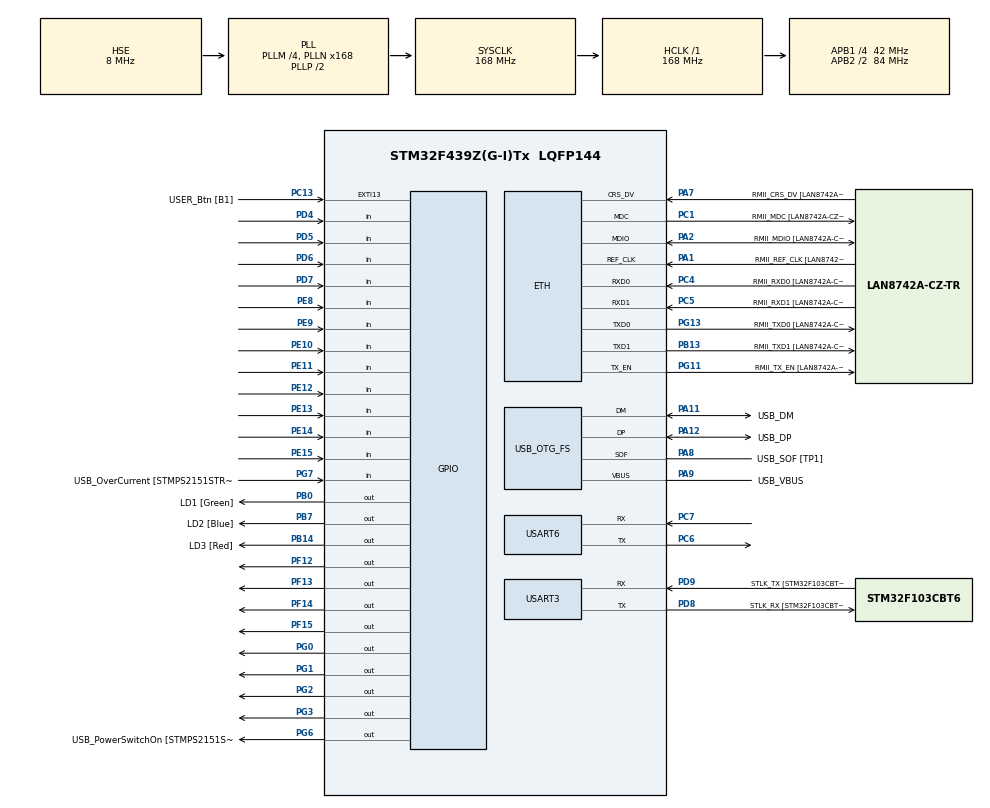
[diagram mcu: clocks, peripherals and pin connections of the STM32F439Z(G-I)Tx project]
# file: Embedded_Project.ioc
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ETH.MediaInterface=HAL_ETH_RMII_MODE
ETH.PHY_Name=LAN8742A_PHY_ADDRESS
ETH.PHY_Value=0
ETH.PhyAddress=0
Mcu.Family=STM32F4
Mcu.Name=STM32F439Z(G-I)Tx
Mcu.Package=LQFP144
NVIC.PriorityGroup=NVIC_PRIORITYGROUP_4
PA1.GPIO_Label=RMII_REF_CLK [LAN8742A-CZ-TR_REFCLK0]
PA1.Mode=RMII
PA1.Signal=ETH_REF_CLK
PA10.GPIO_Label=USB_ID
PA10.Signal=USB_OTG_FS_ID
PA11.GPIO_Label=USB_DM
PA11.Mode=Device_Only
PA11.Signal=USB_OTG_FS_DM
PA12.GPIO_Label=USB_DP
PA12.Mode=Device_Only
PA12.Signal=USB_OTG_FS_DP
PA13.GPIO_Label=TMS
PA13.Mode=Serial_Wire
PA13.Signal=SYS_JTMS-SWDIO
PA14.GPIO_Label=TCK
PA14.Mode=Serial_Wire
PA14.Signal=SYS_JTCK-SWCLK
PA2.GPIO_Label=RMII_MDIO [LAN8742A-CZ-TR_MDIO]
PA2.Mode=RMII
PA2.Signal=ETH_MDIO
PA7.GPIO_Label=RMII_CRS_DV [LAN8742A-CZ-TR_CRS_DV]
PA7.Mode=RMII
PA7.Signal=ETH_CRS_DV
PA8.GPIO_Label=USB_SOF [TP1]
PA8.Mode=Activate_SOF_FS
PA8.Signal=USB_OTG_FS_SOF
PA9.GPIO_Label=USB_VBUS
PA9.Mode=Activate_VBUS
PA9.Signal=USB_OTG_FS_VBUS
PB0.GPIO_Label=LD1 [Green]
PB0.Signal=GPIO_Output
PB13.GPIO_Label=RMII_TXD1 [LAN8742A-CZ-TR_TXD1]
PB13.Mode=RMII
PB13.Signal=ETH_TXD1
PB14.GPIO_Label=LD3 [Red]
PB14.Signal=GPIO_Output
PB7.GPIO_Label=LD2 [Blue]
PB7.Signal=GPIO_Output
PC1.GPIO_Label=RMII_MDC [LAN8742A-CZ-TR_MDC]
PC1.Mode=RMII
PC1.Signal=ETH_MDC
PC13.GPIO_Label=USER_Btn [B1]
PC13.Signal=GPXTI13
PC14/OSC32_IN.Mode=LSE-External-Oscillator
PC14/OSC32_IN.Signal=RCC_OSC32_IN
PC15/OSC32_OUT.Mode=LSE-External-Oscillator
PC15/OSC32_OUT.Signal=RCC_OSC32_OUT
PC4.GPIO_Label=RMII_RXD0 [LAN8742A-CZ-TR_RXD0]
PC4.Mode=RMII
PC4.Signal=ETH_RXD0
PC5.GPIO_Label=RMII_RXD1 [LAN8742A-CZ-TR_RXD1]
PC5.Mode=RMII
PC5.Signal=ETH_RXD1
PC6.Mode=Asynchronous
PC6.Signal=USART6_TX
PC7.Mode=Asynchronous
PC7.Signal=USART6_RX
PD4.GPIO_PuPd=GPIO_PULLUP
PD4.Signal=GPIO_Input
PD5.GPIO_PuPd=GPIO_PULLUP
PD5.Signal=GPIO_Input
PD6.GPIO_PuPd=GPIO_PULLUP
PD6.Signal=GPIO_Input
PD7.GPIO_PuPd=GPIO_PULLUP
PD7.Signal=GPIO_Input
PD8.GPIO_Label=STLK_RX [STM32F103CBT6_PA3]
PD8.Mode=Asynchronous
PD8.Signal=USART3_TX
PD9.GPIO_Label=STLK_TX [STM32F103CBT6_PA2]
PD9.Mode=Asynchronous
PD9.Signal=USART3_RX
PE10.Signal=GPIO_Input
PE11.Signal=GPIO_Input
PE12.Signal=GPIO_Input
PE13.Signal=GPIO_Input
PE14.Signal=GPIO_Input
PE15.Signal=GPIO_Input
PE8.Signal=GPIO_Input
PE9.Signal=GPIO_Input
PF12.Signal=GPIO_Output
PF13.Signal=GPIO_Output
PF14.Signal=GPIO_Output
PF15.Signal=GPIO_Output
PG0.Signal=GPIO_Output
PG1.Signal=GPIO_Output
PG11.GPIO_Label=RMII_TX_EN [LAN8742A-CZ-TR_TXEN]
PG11.Mode=RMII
PG11.Signal=ETH_TX_EN
PG13.GPIO_Label=RMII_TXD0 [LAN8742A-CZ-TR_TXD0]
PG13.Mode=RMII
PG13.Signal=ETH_TXD0
PG2.Signal=GPIO_Output
PG3.Signal=GPIO_Output
PG6.GPIO_Label=USB_PowerSwitchOn [STMPS2151STR_EN]
PG6.Signal=GPIO_Output
PG7.GPIO_Label=USB_OverCurrent [STMPS2151STR_FAULT]
PG7.Signal=GPIO_Input
PH0/OSC_IN.GPIO_Label=MCO [STM32F103CBT6_PA8]
PH0/OSC_IN.Mode=HSE-External-Clock-Source
PH0/OSC_IN.Signal=RCC_OSC_IN
PH1/OSC_OUT.Mode=HSE-External-Clock-Source
PH1/OSC_OUT.Signal=RCC_OSC_OUT
ProjectManager.HeapSize=0x200
ProjectManager.StackSize=0x400
ProjectManager.TargetToolchain=STM32CubeIDE
RCC.48MHZClocksFreq_Value=48000000
RCC.AHBFreq_Value=168000000
RCC.APB1CLKDivider=RCC_HCLK_DIV4
RCC.APB1Freq_Value=42000000
RCC.APB1TimFreq_Value=84000000
RCC.APB2CLKDivider=RCC_HCLK_DIV2
RCC.APB2Freq_Value=84000000
RCC.APB2TimCLKDivider=2
RCC.APB2TimFreq_Value=168000000
RCC.CortexFreq_Value=168000000
RCC.HCLKFreq_Value=168000000
RCC.HSE_VALUE=8000000
RCC.HSI_VALUE=16000000
RCC.PLLM=4
RCC.PLLMUL=RCC_PLL_MUL9
RCC.PLLN=168
RCC.PLLQ=7
RCC.PRESCALERUSB=RCC_USBCLKSOURCE_PLL_DIV1_5
RCC.SYSCLKFreq_VALUE=168000000
RCC.SYSCLKSource=RCC_SYSCLKSOURCE_PLLCLK
RCC.SYSCLKSourceVirtual=RCC_SYSCLKSOURCE_PLLCLK
RCC.USBFreq_Value=48000000
RCC.VCOOutputFreq_Value=336000000
TIM2.Prescaler=83
USART3.VirtualMode=VM_ASYNC
USART6.VirtualMode=VM_ASYNC
USB_OTG_FS.VirtualMode=Device_Only
VP_TIM2_VS_ClockSourceINT.Mode=Internal
board=NUCLEO-F439ZI

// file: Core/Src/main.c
/* USER CODE BEGIN Header */
/**
  ******************************************************************************
  * @file           : main.c
  * @brief          : Main program body
  ******************************************************************************
  * @attention
  *
  * Copyright (c) 2026 STMicroelectronics.
  * All rights reserved.
  *
  * This software is licensed under terms that can be found in the LICENSE file
  * in the root directory of this software component.
  * If no LICENSE file comes with this software, it is provided AS-IS.
  *
  ******************************************************************************
  */
/* USER CODE END Header */
#include "main.h"
#include "string.h"

ETH_TxPacketConfig TxConfig;
ETH_DMADescTypeDef  DMARxDscrTab[ETH_RX_DESC_CNT]; /* Ethernet Rx DMA Descriptors */
ETH_DMADescTypeDef  DMATxDscrTab[ETH_TX_DESC_CNT]; /* Ethernet Tx DMA Descriptors */

ETH_HandleTypeDef heth;

TIM_HandleTypeDef htim2;

UART_HandleTypeDef huart3;
UART_HandleTypeDef huart6;

PCD_HandleTypeDef hpcd_USB_OTG_FS;

void SystemClock_Config(void);
static void MX_GPIO_Init(void);
static void MX_ETH_Init(void);
static void MX_USART3_UART_Init(void);
static void MX_USB_OTG_FS_PCD_Init(void);
static void MX_USART6_UART_Init(void);
static void MX_TIM2_Init(void);

/* USER CODE BEGIN 0 */
#include <stdio.h>
#include <string.h>

// Vehicle Recognize - 3cm to 12cm
#define VEHICLE_THRESHOLD 12

// Function to get distance in centimeters using timers
int get_distance(GPIO_TypeDef* trig_port, uint16_t trig_pin, GPIO_TypeDef* echo_port, uint16_t echo_pin) {
    uint32_t local_time = 0;

    HAL_GPIO_WritePin(trig_port, trig_pin, GPIO_PIN_SET);
    __HAL_TIM_SET_COUNTER(&htim2, 0);
    while (__HAL_TIM_GET_COUNTER(&htim2) < 10);
    HAL_GPIO_WritePin(trig_port, trig_pin, GPIO_PIN_RESET);

    __HAL_TIM_SET_COUNTER(&htim2, 0);
    while (HAL_GPIO_ReadPin(echo_port, echo_pin) == GPIO_PIN_RESET) {
        if (__HAL_TIM_GET_COUNTER(&htim2) > 20000) return 99; // Timeout
    }

    __HAL_TIM_SET_COUNTER(&htim2, 0);
    while (HAL_GPIO_ReadPin(echo_port, echo_pin) == GPIO_PIN_SET) {
        if (__HAL_TIM_GET_COUNTER(&htim2) > 30000) return 99; // Timeout
    }

    local_time = __HAL_TIM_GET_COUNTER(&htim2);
    int distance = local_time / 58;

    // 0 to 2cm - recognized as empty - to prevent glitches
    if (distance <= 2 || distance > 400) {
        return 99;
    }
    return distance;
}

//Button Debounce Logic (20ms filter)
int read_button(GPIO_TypeDef* port, uint16_t pin) {
    if (HAL_GPIO_ReadPin(port, pin) == GPIO_PIN_RESET) {
        HAL_Delay(20);
        if (HAL_GPIO_ReadPin(port, pin) == GPIO_PIN_RESET) {
            return 1; // Pressed
        }
    }
    return 0; // Not pressed
}
/* USER CODE END 0 */

int main(void)
{

  /* MCU Configuration--------------------------------------------------------*/

  /* Reset of all peripherals, Initializes the Flash interface and the Systick. */
  HAL_Init();

  /* Configure the system clock */
  SystemClock_Config();

  /* Initialize all configured peripherals */
  MX_GPIO_Init();
  MX_ETH_Init();
  MX_USART3_UART_Init();
  MX_USB_OTG_FS_PCD_Init();
  MX_USART6_UART_Init();
  MX_TIM2_Init();
  /* USER CODE BEGIN 2 */
  HAL_TIM_Base_Start(&htim2);
  /* USER CODE END 2 */

  /* Infinite loop */
  /* USER CODE BEGIN WHILE */
  while (1)
  {
	        // 1. Reading ALL 8 sensors using the pins you set up in IOC
	        int distN1 = get_distance(GPIOF, GPIO_PIN_12, GPIOE, GPIO_PIN_8);
	        int distN2 = get_distance(GPIOF, GPIO_PIN_13, GPIOE, GPIO_PIN_9);
	        int distS1 = get_distance(GPIOF, GPIO_PIN_14, GPIOE, GPIO_PIN_10);
	        int distS2 = get_distance(GPIOF, GPIO_PIN_15, GPIOE, GPIO_PIN_11);
	        int distE1 = get_distance(GPIOG, GPIO_PIN_0, GPIOE, GPIO_PIN_12);
	        int distE2 = get_distance(GPIOG, GPIO_PIN_1, GPIOE, GPIO_PIN_13);
	        int distW1 = get_distance(GPIOG, GPIO_PIN_2, GPIOE, GPIO_PIN_14);
	        int distW2 = get_distance(GPIOG, GPIO_PIN_3, GPIOE, GPIO_PIN_15);

	          // 2. Converting to 1 (Vehicle) or 0 (Empty)
			  int vN1 = (distN1 < VEHICLE_THRESHOLD) ? 1 : 0;
			  int vN2 = (distN2 < VEHICLE_THRESHOLD) ? 1 : 0;
			  int vS1 = (distS1 < VEHICLE_THRESHOLD) ? 1 : 0;
			  int vS2 = (distS2 < VEHICLE_THRESHOLD) ? 1 : 0;
			  int vE1 = (distE1 < VEHICLE_THRESHOLD) ? 1 : 0;
			  int vE2 = (distE2 < VEHICLE_THRESHOLD) ? 1 : 0;
			  int vW1 = (distW1 < VEHICLE_THRESHOLD) ? 1 : 0;
			  int vW2 = (distW2 < VEHICLE_THRESHOLD) ? 1 : 0;

	            // 3. Adding them up for Lane Density (0,1,2)
				int denN = vN1 + vN2;
				int denS = vS1 + vS2;
				int denE = vE1 + vE2;
				int denW = vW1 + vW2;

		      // 4. NEW: Read Pedestrian Buttons
			  int btnN = read_button(GPIOD, GPIO_PIN_7);
			  int btnS = read_button(GPIOD, GPIO_PIN_6);
			  int btnE = read_button(GPIOD, GPIO_PIN_5);
			  int btnW = read_button(GPIOD, GPIO_PIN_4);

			  // 5. Sending formatted string with Densities and Buttons
			  char tx_buffer[50];
			  sprintf(tx_buffer, "%d,%d,%d,%d,%d,%d,%d,%d\n", denN, denS, denE, denW, btnN, btnS, btnE, btnW);
			  HAL_UART_Transmit(&huart6, (uint8_t*)tx_buffer, strlen(tx_buffer), 100);

			  HAL_Delay(300);
    /* USER CODE END WHILE */

  }
}

void SystemClock_Config(void)
{
  RCC_OscInitTypeDef RCC_OscInitStruct = {0};
  RCC_ClkInitTypeDef RCC_ClkInitStruct = {0};

  /** Configure the main internal regulator output voltage
  */
  __HAL_RCC_PWR_CLK_ENABLE();
  __HAL_PWR_VOLTAGESCALING_CONFIG(PWR_REGULATOR_VOLTAGE_SCALE1);

  /** Initializes the RCC Oscillators according to the specified parameters
  * in the RCC_OscInitTypeDef structure.
  */
  RCC_OscInitStruct.OscillatorType = RCC_OSCILLATORTYPE_HSE;
  RCC_OscInitStruct.HSEState = RCC_HSE_BYPASS;
  RCC_OscInitStruct.PLL.PLLState = RCC_PLL_ON;
  RCC_OscInitStruct.PLL.PLLSource = RCC_PLLSOURCE_HSE;
  RCC_OscInitStruct.PLL.PLLM = 4;
  RCC_OscInitStruct.PLL.PLLN = 168;
  RCC_OscInitStruct.PLL.PLLP = RCC_PLLP_DIV2;
  RCC_OscInitStruct.PLL.PLLQ = 7;
  if (HAL_RCC_OscConfig(&RCC_OscInitStruct) != HAL_OK)
  {
    Error_Handler();
  }

  /** Initializes the CPU, AHB and APB buses clocks
  */
  RCC_ClkInitStruct.ClockType = RCC_CLOCKTYPE_HCLK|RCC_CLOCKTYPE_SYSCLK
                              |RCC_CLOCKTYPE_PCLK1|RCC_CLOCKTYPE_PCLK2;
  RCC_ClkInitStruct.SYSCLKSource = RCC_SYSCLKSOURCE_PLLCLK;
  RCC_ClkInitStruct.AHBCLKDivider = RCC_SYSCLK_DIV1;
  RCC_ClkInitStruct.APB1CLKDivider = RCC_HCLK_DIV4;
  RCC_ClkInitStruct.APB2CLKDivider = RCC_HCLK_DIV2;

  if (HAL_RCC_ClockConfig(&RCC_ClkInitStruct, FLASH_LATENCY_5) != HAL_OK)
  {
    Error_Handler();
  }
}

static void MX_ETH_Init(void)
{

   static uint8_t MACAddr[6];

  heth.Instance = ETH;
  MACAddr[0] = 0x00;
  MACAddr[1] = 0x80;
  MACAddr[2] = 0xE1;
  MACAddr[3] = 0x00;
  MACAddr[4] = 0x00;
  MACAddr[5] = 0x00;
  heth.Init.MACAddr = &MACAddr[0];
  heth.Init.MediaInterface = HAL_ETH_RMII_MODE;
  heth.Init.TxDesc = DMATxDscrTab;
  heth.Init.RxDesc = DMARxDscrTab;
  heth.Init.RxBuffLen = 1524;

  if (HAL_ETH_Init(&heth) != HAL_OK)
  {
    Error_Handler();
  }

  memset(&TxConfig, 0 , sizeof(ETH_TxPacketConfig));
  TxConfig.Attributes = ETH_TX_PACKETS_FEATURES_CSUM | ETH_TX_PACKETS_FEATURES_CRCPAD;
  TxConfig.ChecksumCtrl = ETH_CHECKSUM_IPHDR_PAYLOAD_INSERT_PHDR_CALC;
  TxConfig.CRCPadCtrl = ETH_CRC_PAD_INSERT;

}

static void MX_TIM2_Init(void)
{

  TIM_ClockConfigTypeDef sClockSourceConfig = {0};
  TIM_MasterConfigTypeDef sMasterConfig = {0};

  htim2.Instance = TIM2;
  htim2.Init.Prescaler = 83;
  htim2.Init.CounterMode = TIM_COUNTERMODE_UP;
  htim2.Init.Period = 4294967295;
  htim2.Init.ClockDivision = TIM_CLOCKDIVISION_DIV1;
  htim2.Init.AutoReloadPreload = TIM_AUTORELOAD_PRELOAD_DISABLE;
  if (HAL_TIM_Base_Init(&htim2) != HAL_OK)
  {
    Error_Handler();
  }
  sClockSourceConfig.ClockSource = TIM_CLOCKSOURCE_INTERNAL;
  if (HAL_TIM_ConfigClockSource(&htim2, &sClockSourceConfig) != HAL_OK)
  {
    Error_Handler();
  }
  sMasterConfig.MasterOutputTrigger = TIM_TRGO_RESET;
  sMasterConfig.MasterSlaveMode = TIM_MASTERSLAVEMODE_DISABLE;
  if (HAL_TIMEx_MasterConfigSynchronization(&htim2, &sMasterConfig) != HAL_OK)
  {
    Error_Handler();
  }

}

static void MX_USART3_UART_Init(void)
{

  huart3.Instance = USART3;
  huart3.Init.BaudRate = 115200;
  huart3.Init.WordLength = UART_WORDLENGTH_8B;
  huart3.Init.StopBits = UART_STOPBITS_1;
  huart3.Init.Parity = UART_PARITY_NONE;
  huart3.Init.Mode = UART_MODE_TX_RX;
  huart3.Init.HwFlowCtl = UART_HWCONTROL_NONE;
  huart3.Init.OverSampling = UART_OVERSAMPLING_16;
  if (HAL_UART_Init(&huart3) != HAL_OK)
  {
    Error_Handler();
  }

}

static void MX_USART6_UART_Init(void)
{

  huart6.Instance = USART6;
  huart6.Init.BaudRate = 115200;
  huart6.Init.WordLength = UART_WORDLENGTH_8B;
  huart6.Init.StopBits = UART_STOPBITS_1;
  huart6.Init.Parity = UART_PARITY_NONE;
  huart6.Init.Mode = UART_MODE_TX_RX;
  huart6.Init.HwFlowCtl = UART_HWCONTROL_NONE;
  huart6.Init.OverSampling = UART_OVERSAMPLING_16;
  if (HAL_UART_Init(&huart6) != HAL_OK)
  {
    Error_Handler();
  }

}

static void MX_USB_OTG_FS_PCD_Init(void)
{

  hpcd_USB_OTG_FS.Instance = USB_OTG_FS;
  hpcd_USB_OTG_FS.Init.dev_endpoints = 4;
  hpcd_USB_OTG_FS.Init.speed = PCD_SPEED_FULL;
  hpcd_USB_OTG_FS.Init.dma_enable = DISABLE;
  hpcd_USB_OTG_FS.Init.phy_itface = PCD_PHY_EMBEDDED;
  hpcd_USB_OTG_FS.Init.Sof_enable = ENABLE;
  hpcd_USB_OTG_FS.Init.low_power_enable = DISABLE;
  hpcd_USB_OTG_FS.Init.lpm_enable = DISABLE;
  hpcd_USB_OTG_FS.Init.vbus_sensing_enable = ENABLE;
  hpcd_USB_OTG_FS.Init.use_dedicated_ep1 = DISABLE;
  if (HAL_PCD_Init(&hpcd_USB_OTG_FS) != HAL_OK)
  {
    Error_Handler();
  }

}

static void MX_GPIO_Init(void)
{
  GPIO_InitTypeDef GPIO_InitStruct = {0};

  /* GPIO Ports Clock Enable */
  __HAL_RCC_GPIOC_CLK_ENABLE();
  __HAL_RCC_GPIOH_CLK_ENABLE();
  __HAL_RCC_GPIOA_CLK_ENABLE();
  __HAL_RCC_GPIOB_CLK_ENABLE();
  __HAL_RCC_GPIOF_CLK_ENABLE();
  __HAL_RCC_GPIOG_CLK_ENABLE();
  __HAL_RCC_GPIOE_CLK_ENABLE();
  __HAL_RCC_GPIOD_CLK_ENABLE();

  /*Configure GPIO pin Output Level */
  HAL_GPIO_WritePin(GPIOB, LD1_Pin|LD3_Pin|LD2_Pin, GPIO_PIN_RESET);

  /*Configure GPIO pin Output Level */
  HAL_GPIO_WritePin(GPIOF, GPIO_PIN_12|GPIO_PIN_13|GPIO_PIN_14|GPIO_PIN_15, GPIO_PIN_RESET);

  /*Configure GPIO pin Output Level */
  HAL_GPIO_WritePin(GPIOG, GPIO_PIN_0|GPIO_PIN_1|GPIO_PIN_2|GPIO_PIN_3
                          |USB_PowerSwitchOn_Pin, GPIO_PIN_RESET);

  /*Configure GPIO pin : USER_Btn_Pin */
  GPIO_InitStruct.Pin = USER_Btn_Pin;
  GPIO_InitStruct.Mode = GPIO_MODE_IT_RISING;
  GPIO_InitStruct.Pull = GPIO_NOPULL;
  HAL_GPIO_Init(USER_Btn_GPIO_Port, &GPIO_InitStruct);

  /*Configure GPIO pins : LD1_Pin LD3_Pin LD2_Pin */
  GPIO_InitStruct.Pin = LD1_Pin|LD3_Pin|LD2_Pin;
  GPIO_InitStruct.Mode = GPIO_MODE_OUTPUT_PP;
  GPIO_InitStruct.Pull = GPIO_NOPULL;
  GPIO_InitStruct.Speed = GPIO_SPEED_FREQ_LOW;
  HAL_GPIO_Init(GPIOB, &GPIO_InitStruct);

  /*Configure GPIO pins : PF12 PF13 PF14 PF15 */
  GPIO_InitStruct.Pin = GPIO_PIN_12|GPIO_PIN_13|GPIO_PIN_14|GPIO_PIN_15;
  GPIO_InitStruct.Mode = GPIO_MODE_OUTPUT_PP;
  GPIO_InitStruct.Pull = GPIO_NOPULL;
  GPIO_InitStruct.Speed = GPIO_SPEED_FREQ_LOW;
  HAL_GPIO_Init(GPIOF, &GPIO_InitStruct);

  /*Configure GPIO pins : PG0 PG1 PG2 PG3
                           USB_PowerSwitchOn_Pin */
  GPIO_InitStruct.Pin = GPIO_PIN_0|GPIO_PIN_1|GPIO_PIN_2|GPIO_PIN_3
                          |USB_PowerSwitchOn_Pin;
  GPIO_InitStruct.Mode = GPIO_MODE_OUTPUT_PP;
  GPIO_InitStruct.Pull = GPIO_NOPULL;
  GPIO_InitStruct.Speed = GPIO_SPEED_FREQ_LOW;
  HAL_GPIO_Init(GPIOG, &GPIO_InitStruct);

  /*Configure GPIO pins : PE8 PE9 PE10 PE11
                           PE12 PE13 PE14 PE15 */
  GPIO_InitStruct.Pin = GPIO_PIN_8|GPIO_PIN_9|GPIO_PIN_10|GPIO_PIN_11
                          |GPIO_PIN_12|GPIO_PIN_13|GPIO_PIN_14|GPIO_PIN_15;
  GPIO_InitStruct.Mode = GPIO_MODE_INPUT;
  GPIO_InitStruct.Pull = GPIO_NOPULL;
  HAL_GPIO_Init(GPIOE, &GPIO_InitStruct);

  /*Configure GPIO pin : USB_OverCurrent_Pin */
  GPIO_InitStruct.Pin = USB_OverCurrent_Pin;
  GPIO_InitStruct.Mode = GPIO_MODE_INPUT;
  GPIO_InitStruct.Pull = GPIO_NOPULL;
  HAL_GPIO_Init(USB_OverCurrent_GPIO_Port, &GPIO_InitStruct);

  /*Configure GPIO pins : PD4 PD5 PD6 PD7 */
  GPIO_InitStruct.Pin = GPIO_PIN_4|GPIO_PIN_5|GPIO_PIN_6|GPIO_PIN_7;
  GPIO_InitStruct.Mode = GPIO_MODE_INPUT;
  GPIO_InitStruct.Pull = GPIO_PULLUP;
  HAL_GPIO_Init(GPIOD, &GPIO_InitStruct);

}

void Error_Handler(void)
{
  __disable_irq();
  while (1)
  {
  }
}
